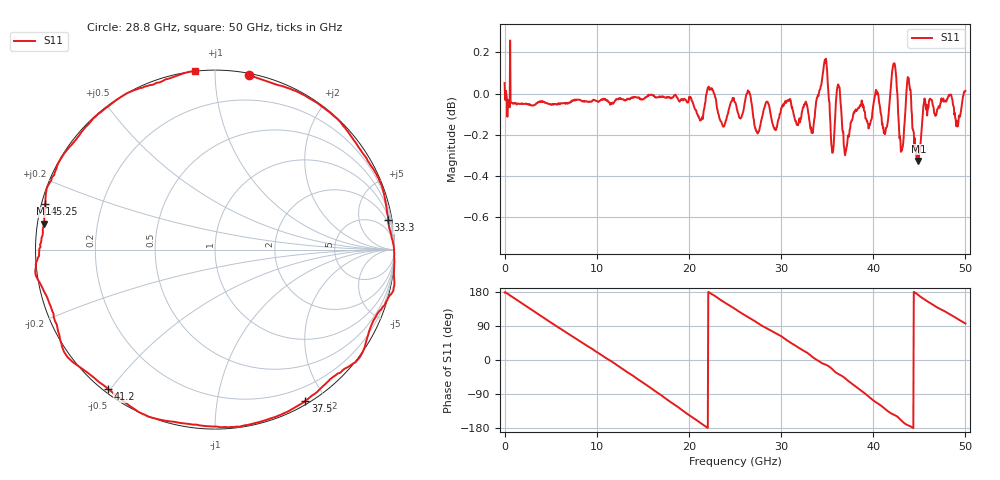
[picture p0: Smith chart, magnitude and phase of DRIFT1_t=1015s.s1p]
!Created with skrf (http://scikit-rf.org).
# Hz S RI R 50.0
!freq ReS11 ImS11
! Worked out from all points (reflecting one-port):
!   1001 points, 300 kHz to 50 GHz, reference 50 ohm
!   lowest |S11| = -0.3 dB at 44.9 GHz (marker M1), VSWR 53.05, Z = 0.948 + j3.78 ohm
!   phase of S11 starts at 178 deg and turns -802 deg over the sweep
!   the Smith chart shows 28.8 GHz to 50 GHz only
!   S11 on the Smith chart (normalised r, x): 28.8 GHz: 0.01, +1.21; 33.3 GHz: 1, +12; 37.5 GHz: 0.04, -1.76; 41.2 GHz: 0.01, -0.49; 45.25 GHz: 0.01, +0.13; 50 GHz: -0.00, +0.90
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300000  -1.005 0.0311
1.70029e9  -0.8804 0.4621
3.550279e9  -0.5301 0.8418
6.250262e9  0.1794 0.9782
7.950252e9  0.5965 0.7982
9.800241e9  0.9094 0.4067
1.250022e10  0.9446 -0.3201
1.400022e10  0.7331 -0.6772
1.59002e10  0.2661 -0.9633
1.72502e10  -0.1307 -0.9896
1.875019e10  -0.5434 -0.8367
2.025018e10  -0.8607 -0.5041
2.200017e10  -1.002 -0.0264
2.500015e10  -0.7028 0.7044
2.665014e10  -0.3456 0.9375
2.880013e10  0.1895 0.9722
3.125011e10  0.7314 0.6685
3.33001e10  0.9641 0.1658
3.500009e10  0.9813 -0.249
3.750008e10  0.503 -0.842
3.920006e10  -0.00158 -0.9861
4.120005e10  -0.5947 -0.7781
4.245005e10  -0.8483 -0.5514
4.375004e10  -0.9995 -0.1398
4.490003e10  -0.9521 0.1447
4.525003e10  -0.9459 0.2568
4.735002e10  -0.6842 0.7224
5e10  -0.11 0.9954
